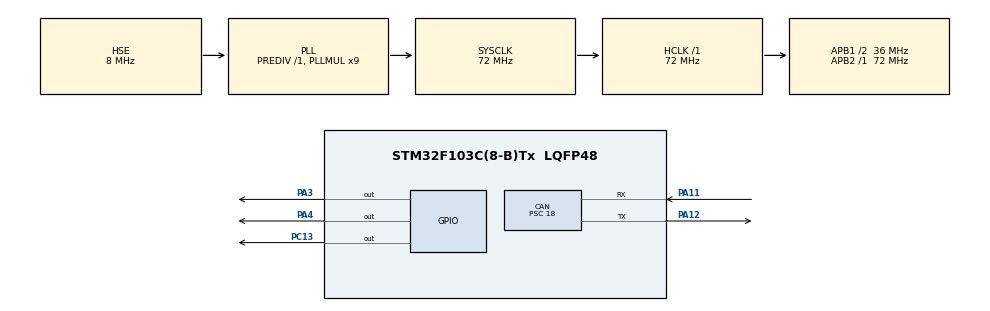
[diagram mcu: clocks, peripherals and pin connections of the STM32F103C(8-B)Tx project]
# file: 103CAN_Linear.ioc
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CAN.BS1=CAN_BS1_2TQ
CAN.CalculateBaudRate=500000
CAN.CalculateTimeBit=2000
CAN.CalculateTimeQuantum=500.0
CAN.Prescaler=18
Mcu.Family=STM32F1
Mcu.Name=STM32F103C(8-B)Tx
Mcu.Package=LQFP48
NVIC.CAN1_RX1_IRQn=true\:0\:0\:false\:true\:true\:1\:true\:true\:true
NVIC.PriorityGroup=NVIC_PRIORITYGROUP_4
PA11.Mode=CAN_Activate
PA11.Signal=CAN_RX
PA12.Mode=CAN_Activate
PA12.Signal=CAN_TX
PA13.Mode=Serial_Wire
PA13.Signal=SYS_JTMS-SWDIO
PA14.Mode=Serial_Wire
PA14.Signal=SYS_JTCK-SWCLK
PA3.Signal=GPIO_Output
PA4.Signal=GPIO_Output
PC13-TAMPER-RTC.Signal=GPIO_Output
PD0-OSC_IN.Mode=HSE-External-Oscillator
PD0-OSC_IN.Signal=RCC_OSC_IN
PD1-OSC_OUT.Mode=HSE-External-Oscillator
PD1-OSC_OUT.Signal=RCC_OSC_OUT
ProjectManager.HeapSize=0x200
ProjectManager.StackSize=0x400
ProjectManager.TargetToolchain=STM32CubeIDE
RCC.AHBFreq_Value=72000000
RCC.APB1CLKDivider=RCC_HCLK_DIV2
RCC.APB1Freq_Value=36000000
RCC.APB1TimFreq_Value=72000000
RCC.APB2Freq_Value=72000000
RCC.APB2TimFreq_Value=72000000
RCC.HCLKFreq_Value=72000000
RCC.PLLMUL=RCC_PLL_MUL9
RCC.PLLSourceVirtual=RCC_PLLSOURCE_HSE
RCC.SYSCLKFreq_VALUE=72000000
RCC.SYSCLKSource=RCC_SYSCLKSOURCE_PLLCLK
RCC.USBFreq_Value=72000000
board=custom

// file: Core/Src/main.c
/* USER CODE BEGIN Header */
/**
  ******************************************************************************
  * @file           : main.c
  * @brief          : Main program body
  ******************************************************************************
  * @attention
  *
  * Copyright (c) 2024 STMicroelectronics.
  * All rights reserved.
  *
  * This software is licensed under terms that can be found in the LICENSE file
  * in the root directory of this software component.
  * If no LICENSE file comes with this software, it is provided AS-IS.
  *
  ******************************************************************************
  */
/* USER CODE END Header */
#include "main.h"

CAN_HandleTypeDef hcan;

/* USER CODE BEGIN PV */
CAN_RxHeaderTypeDef RxHeader;

uint8_t RxData[8];

uint32_t TxMailbox;

/* USER CODE END PV */

void SystemClock_Config(void);
static void MX_GPIO_Init(void);
static void MX_CAN_Init(void);
static void MX_NVIC_Init(void);

/* USER CODE BEGIN 0 */
int act_flag = 0;
int total = 1000;
int rain_flag = 0;

void HAL_CAN_RxFifo1MsgPendingCallback(CAN_HandleTypeDef *hcan)
{
    HAL_CAN_GetRxMessage(hcan, CAN_RX_FIFO1, &RxHeader, RxData);

    if (RxHeader.StdId == 0x103) { // manual
    	HAL_GPIO_TogglePin(GPIOC, GPIO_PIN_13);
    	if(RxData[0] == 0){
    		act_flag = 0;
    		HAL_GPIO_WritePin(GPIOA, GPIO_PIN_3, 1);
    		HAL_GPIO_WritePin(GPIOA, GPIO_PIN_4, 1);
    	}
    	else if(RxData[0] == 1){
    		if(act_flag == 0){
    			HAL_GPIO_WritePin(GPIOA, GPIO_PIN_3, 0);
    			act_flag = 1;
    		}
    	}
    	else if(RxData[0] == 2){
    		if(act_flag == 0){
    			HAL_GPIO_WritePin(GPIOA, GPIO_PIN_4, 0);
    			act_flag = -1;
    		}
    	}
    }
    else if(RxHeader.StdId == 0x200){ // auto
    	HAL_GPIO_TogglePin(GPIOC, GPIO_PIN_13);
    }
    else if(RxHeader.StdId == 0x300){ //rain flag
    	rain_flag = RxData[0];
    }
    HAL_CAN_ActivateNotification(&hcan, CAN_IT_RX_FIFO1_MSG_PENDING);
}

/* USER CODE END 0 */

int main(void)
{

  /* MCU Configuration--------------------------------------------------------*/

  /* Reset of all peripherals, Initializes the Flash interface and the Systick. */
  HAL_Init();

  /* Configure the system clock */
  SystemClock_Config();

  /* Initialize all configured peripherals */
  MX_GPIO_Init();
  MX_CAN_Init();

  /* Initialize interrupts */
  MX_NVIC_Init();
  /* USER CODE BEGIN 2 */

  HAL_CAN_Start(&hcan);

  HAL_CAN_ActivateNotification(&hcan, CAN_IT_RX_FIFO1_MSG_PENDING);

  /* USER CODE END 2 */

  /* Infinite loop */
  /* USER CODE BEGIN WHILE */
  while (1)
  {
	  if(act_flag != 0){
		  total += act_flag;
		  if(total >= 1000)
			  total = 1000;
		  else if(total <= 0)
			  total = 0;
	  }
    /* USER CODE END WHILE */

  }
}

void SystemClock_Config(void)
{
  RCC_OscInitTypeDef RCC_OscInitStruct = {0};
  RCC_ClkInitTypeDef RCC_ClkInitStruct = {0};

  /** Initializes the RCC Oscillators according to the specified parameters
  * in the RCC_OscInitTypeDef structure.
  */
  RCC_OscInitStruct.OscillatorType = RCC_OSCILLATORTYPE_HSE;
  RCC_OscInitStruct.HSEState = RCC_HSE_ON;
  RCC_OscInitStruct.HSEPredivValue = RCC_HSE_PREDIV_DIV1;
  RCC_OscInitStruct.HSIState = RCC_HSI_ON;
  RCC_OscInitStruct.PLL.PLLState = RCC_PLL_ON;
  RCC_OscInitStruct.PLL.PLLSource = RCC_PLLSOURCE_HSE;
  RCC_OscInitStruct.PLL.PLLMUL = RCC_PLL_MUL9;
  if (HAL_RCC_OscConfig(&RCC_OscInitStruct) != HAL_OK)
  {
    Error_Handler();
  }

  /** Initializes the CPU, AHB and APB buses clocks
  */
  RCC_ClkInitStruct.ClockType = RCC_CLOCKTYPE_HCLK|RCC_CLOCKTYPE_SYSCLK
                              |RCC_CLOCKTYPE_PCLK1|RCC_CLOCKTYPE_PCLK2;
  RCC_ClkInitStruct.SYSCLKSource = RCC_SYSCLKSOURCE_PLLCLK;
  RCC_ClkInitStruct.AHBCLKDivider = RCC_SYSCLK_DIV1;
  RCC_ClkInitStruct.APB1CLKDivider = RCC_HCLK_DIV2;
  RCC_ClkInitStruct.APB2CLKDivider = RCC_HCLK_DIV1;

  if (HAL_RCC_ClockConfig(&RCC_ClkInitStruct, FLASH_LATENCY_2) != HAL_OK)
  {
    Error_Handler();
  }
}

/**
  * @brief NVIC Configuration.
  * @retval None
  */
static void MX_NVIC_Init(void)
{
  /* CAN1_RX1_IRQn interrupt configuration */
  HAL_NVIC_SetPriority(CAN1_RX1_IRQn, 0, 0);
  HAL_NVIC_EnableIRQ(CAN1_RX1_IRQn);
}

static void MX_CAN_Init(void)
{

  hcan.Instance = CAN1;
  hcan.Init.Prescaler = 18;
  hcan.Init.Mode = CAN_MODE_NORMAL;
  hcan.Init.SyncJumpWidth = CAN_SJW_1TQ;
  hcan.Init.TimeSeg1 = CAN_BS1_2TQ;
  hcan.Init.TimeSeg2 = CAN_BS2_1TQ;
  hcan.Init.TimeTriggeredMode = DISABLE;
  hcan.Init.AutoBusOff = DISABLE;
  hcan.Init.AutoWakeUp = DISABLE;
  hcan.Init.AutoRetransmission = DISABLE;
  hcan.Init.ReceiveFifoLocked = DISABLE;
  hcan.Init.TransmitFifoPriority = DISABLE;
  if (HAL_CAN_Init(&hcan) != HAL_OK)
  {
    Error_Handler();
  }
  /* USER CODE BEGIN CAN_Init 2 */

  CAN_FilterTypeDef canFilter_manu;
  canFilter_manu.FilterActivation = CAN_FILTER_ENABLE;
  canFilter_manu.FilterBank = 10;
  canFilter_manu.FilterFIFOAssignment = CAN_FILTER_FIFO1;
  canFilter_manu.FilterIdHigh = 0x103 << 5;
  canFilter_manu.FilterIdLow = 0;
  canFilter_manu.FilterMaskIdHigh = 0x103 << 5;
  canFilter_manu.FilterMaskIdLow = 0x0000;
  canFilter_manu.FilterMode = CAN_FILTERMODE_IDMASK;
  canFilter_manu.FilterScale = CAN_FILTERSCALE_32BIT;
  canFilter_manu.SlaveStartFilterBank = 0;

  HAL_CAN_ConfigFilter(&hcan, &canFilter_manu);

  CAN_FilterTypeDef canFilter_auto;
  canFilter_auto.FilterActivation = CAN_FILTER_ENABLE;
  canFilter_auto.FilterBank = 9;
  canFilter_auto.FilterFIFOAssignment = CAN_FILTER_FIFO1;
  canFilter_auto.FilterIdHigh = 0x200 << 5;
  canFilter_auto.FilterIdLow = 0;
  canFilter_auto.FilterMaskIdHigh = 0x200 << 5;
  canFilter_auto.FilterMaskIdLow = 0x0000;
  canFilter_auto.FilterMode = CAN_FILTERMODE_IDMASK;
  canFilter_auto.FilterScale = CAN_FILTERSCALE_32BIT;
  canFilter_auto.SlaveStartFilterBank = 0;

  HAL_CAN_ConfigFilter(&hcan, &canFilter_auto);

  CAN_FilterTypeDef canFilter_rain;
  canFilter_rain.FilterActivation = CAN_FILTER_ENABLE;
  canFilter_rain.FilterBank = 8;
  canFilter_rain.FilterFIFOAssignment = CAN_FILTER_FIFO1;
  canFilter_rain.FilterIdHigh = 0x300 << 5;
  canFilter_rain.FilterIdLow = 0;
  canFilter_rain.FilterMaskIdHigh = 0x300 << 5;
  canFilter_rain.FilterMaskIdLow = 0x0000;
  canFilter_rain.FilterMode = CAN_FILTERMODE_IDMASK;
  canFilter_rain.FilterScale = CAN_FILTERSCALE_32BIT;
  canFilter_rain.SlaveStartFilterBank = 0;

    HAL_CAN_ConfigFilter(&hcan, &canFilter_rain);

  /* USER CODE END CAN_Init 2 */

}

static void MX_GPIO_Init(void)
{
  GPIO_InitTypeDef GPIO_InitStruct = {0};

  /* GPIO Ports Clock Enable */
  __HAL_RCC_GPIOC_CLK_ENABLE();
  __HAL_RCC_GPIOD_CLK_ENABLE();
  __HAL_RCC_GPIOA_CLK_ENABLE();

  /*Configure GPIO pin Output Level */
  HAL_GPIO_WritePin(GPIOC, GPIO_PIN_13, GPIO_PIN_RESET);

  /*Configure GPIO pin Output Level */
  HAL_GPIO_WritePin(GPIOA, GPIO_PIN_3|GPIO_PIN_4, GPIO_PIN_RESET);

  /*Configure GPIO pin : PC13 */
  GPIO_InitStruct.Pin = GPIO_PIN_13;
  GPIO_InitStruct.Mode = GPIO_MODE_OUTPUT_PP;
  GPIO_InitStruct.Pull = GPIO_NOPULL;
  GPIO_InitStruct.Speed = GPIO_SPEED_FREQ_LOW;
  HAL_GPIO_Init(GPIOC, &GPIO_InitStruct);

  /*Configure GPIO pins : PA3 PA4 */
  GPIO_InitStruct.Pin = GPIO_PIN_3|GPIO_PIN_4;
  GPIO_InitStruct.Mode = GPIO_MODE_OUTPUT_PP;
  GPIO_InitStruct.Pull = GPIO_NOPULL;
  GPIO_InitStruct.Speed = GPIO_SPEED_FREQ_LOW;
  HAL_GPIO_Init(GPIOA, &GPIO_InitStruct);

}

void Error_Handler(void)
{
  __disable_irq();
  while (1)
  {
  }
}
